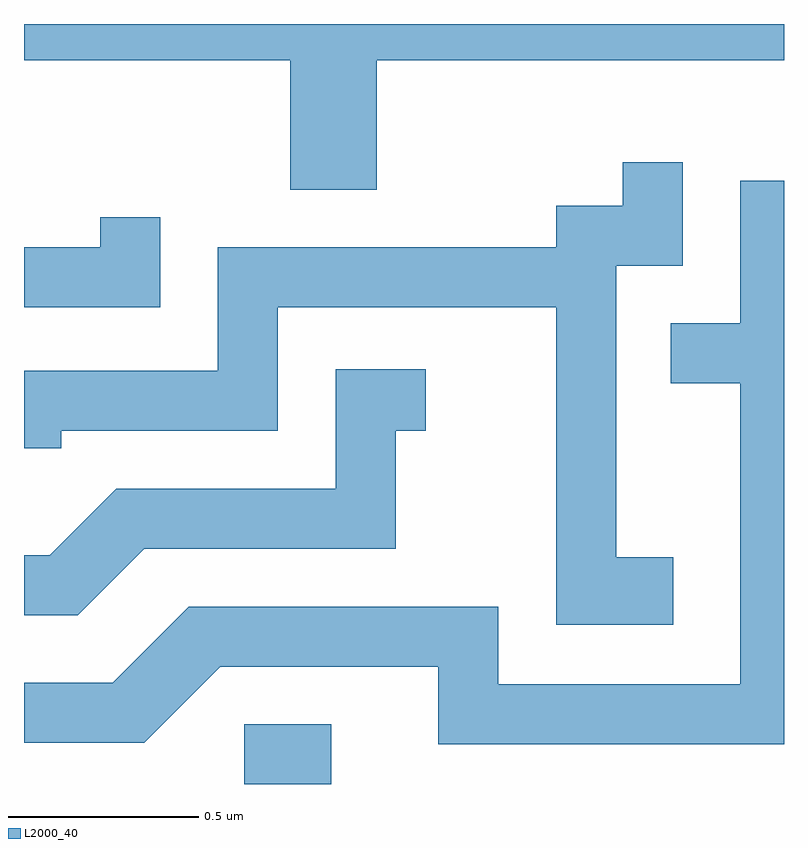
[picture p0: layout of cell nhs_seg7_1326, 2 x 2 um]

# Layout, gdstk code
import gdstk
lib = gdstk.Library(unit=1e-6, precision=1e-09)
def R(c, l, rs):  # rectangles x0, y0, x1, y1
    for r in rs: c.add(gdstk.rectangle(r[:2], r[2:], *l))
def P(c, l, *ps):  # polygons
    for p in ps: c.add(gdstk.Polygon(p, *l))
L2000_40 = (2000, 40)

nhs_seg7_1326 = lib.new_cell('nhs_seg7_1326')
R(nhs_seg7_1326, L2000_40, [(195.191,1761.252,195.419,1761.409)])
P(nhs_seg7_1326, L2000_40, [(195.539,1763.156),(196.611,1763.156),(196.611,1763.252),(194.611,1763.252),(194.611,1763.156),(195.311,1763.156),(195.311,1762.816),(195.539,1762.816)],
  [(196.319,1761.849),(196.169,1761.849),(196.169,1762.616),(196.344,1762.616),(196.344,1762.888),(196.186,1762.888),(196.186,1762.774),(196.011,1762.774),(196.011,1762.664),(195.121,1762.664),(195.121,1762.339),(194.611,1762.339),(194.611,1762.136),(194.709,1762.136),(194.709,1762.181),(195.279,1762.181),(195.279,1762.506),(196.011,1762.506),(196.011,1761.671),(196.319,1761.671)],
  [(196.611,1762.839),(196.496,1762.839),(196.496,1762.464),(196.313,1762.464),(196.313,1762.306),(196.496,1762.306),(196.496,1761.514),(195.859,1761.514),(195.859,1761.719),(195.044,1761.719),(194.844,1761.519),(194.611,1761.519),(194.611,1761.361),(194.927,1761.361),(195.127,1761.561),(195.701,1761.561),(195.701,1761.356),(196.611,1761.356)],
  [(194.969,1762.743),(194.811,1762.743),(194.811,1762.664),(194.611,1762.664),(194.611,1762.506),(194.969,1762.506)],
  [(194.927,1761.871),(195.589,1761.871),(195.589,1762.181),(195.668,1762.181),(195.668,1762.344),(195.431,1762.344),(195.431,1762.029),(194.854,1762.029),(194.679,1761.854),(194.611,1761.854),(194.611,1761.696),(194.752,1761.696)])

lib.write_gds('nhs_seg7_1326.gds')
